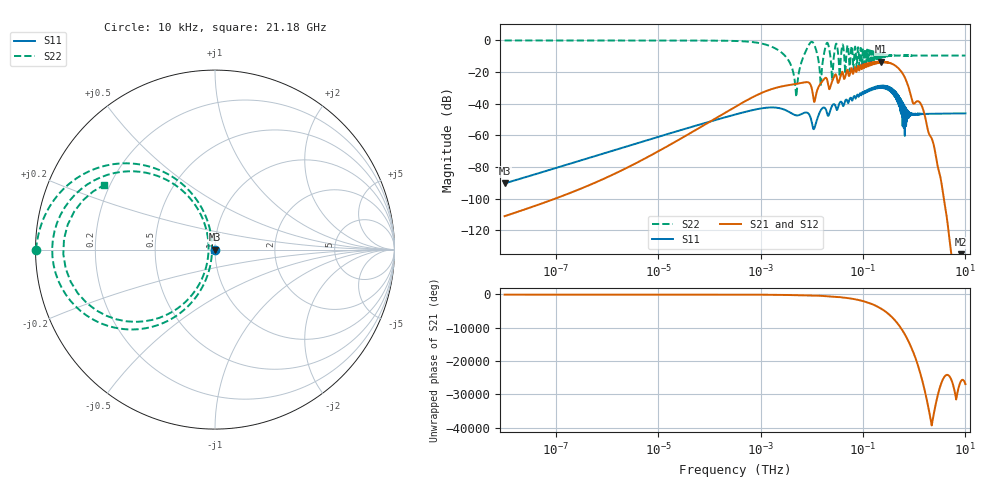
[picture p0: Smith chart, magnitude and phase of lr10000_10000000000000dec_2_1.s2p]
! NPort=2 DATA=4501 NOISE=0 GROUPDELAY=0 COMPLEX_DATAFORMAT=RI
! NumOfBlock=1 NumOfParam=0
! .MODEL Smodel S TSTONEFILE=./link_rx/link_rx_s2/lr10000_10000000000000dec_2_1.s2p TYPE=S
!  -- The above .MODEL line can be used for the S element in the netlist.
# Hz S RI R  50
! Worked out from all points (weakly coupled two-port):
!   4501 points, 10 kHz to 10 THz, reference 50 ohm
!   highest |S21| = -13.31 dB at 220.8 GHz (marker M1); lowest = -199.0 dB at 8.091 THz (marker M2)
!   lowest |S11| = -90.3 dB at 10 kHz (marker M3), VSWR 1.00, Z = 50 + j0.00206 ohm
!   |S11| at or under -10 dB: start of sweep to end of sweep
!   |S22| runs from -35.7 to 0.0 dB; largest |S21 - S12| = 1e-11
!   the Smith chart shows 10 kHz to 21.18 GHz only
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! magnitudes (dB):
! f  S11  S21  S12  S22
! 10 kHz  -90.3  -111.0  -111.0  0.0
! 316.2 kHz  -75.7  -93.5  -93.5  0.0
! 2.57 MHz  -66.7  -80.1  -80.1  0.0
! 10 MHz  -60.9  -70.1  -70.1  0.0
! 316.2 MHz  -46.8  -42.0  -42.0  -0.3
! 2.366 GHz  -42.8  -29.3  -29.3  -6.8
! 3.732 GHz  -45.5  -28.1  -28.1  -14.1
! 4.943 GHz  -47.3  -27.4  -27.4  -35.4
! 10 GHz  -51.8  -30.4  -30.4  -0.8
! 14.86 GHz  -44.3  -27.2  -27.2  -27.9
! 19.77 GHz  -45.7  -24.4  -24.4  -1.5
! 24.89 GHz  -41.3  -26.0  -26.0  -25.0
! 29.79 GHz  -42.7  -21.7  -21.7  -2.1
! 34.83 GHz  -39.6  -24.6  -24.6  -22.4
! 220.8 GHz  -29.6  -13.3  -13.3  -8.2
! 316.2 GHz  -29.5  -14.2  -14.2  -9.9
! 657.7 GHz  -43.9  -23.4  -23.4  -9.6
! 946.2 GHz  -46.4  -39.6  -39.6  -9.6
! 1.38 THz  -46.4  -40.8  -40.8  -9.6
! 3.034 THz  -46.3  -82.5  -82.5  -9.5
! 8.091 THz  -46.1  -199.0  -199.0  -9.5
! 10 THz  -46.1  -  -  -9.5
